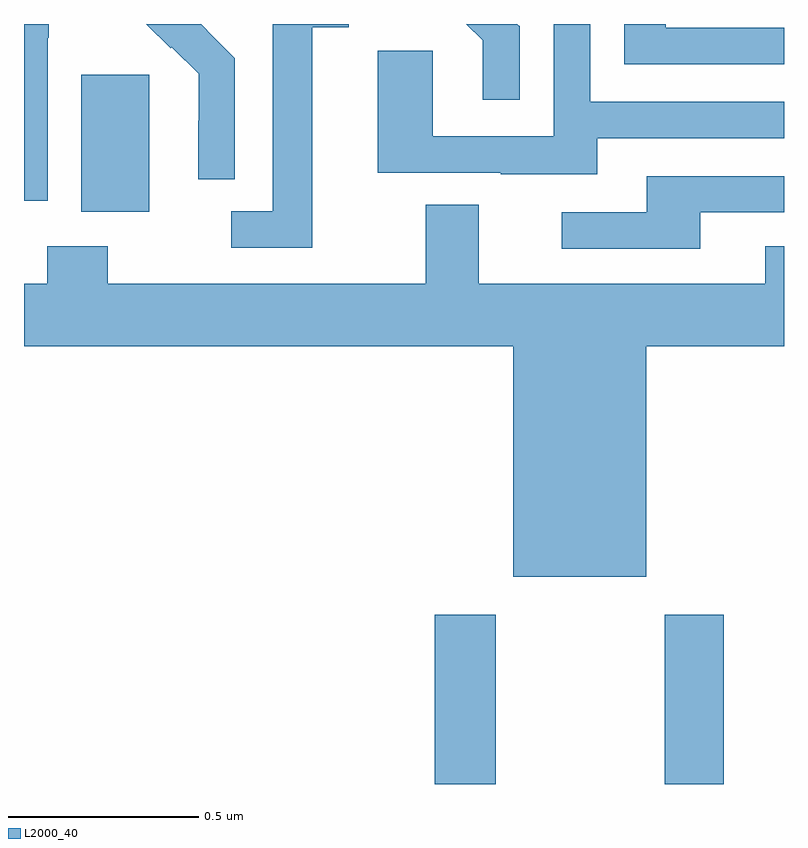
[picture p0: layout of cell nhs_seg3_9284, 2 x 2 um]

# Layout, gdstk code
import gdstk
lib = gdstk.Library(unit=1e-6, precision=1e-09)
def R(c, l, rs):  # rectangles x0, y0, x1, y1
    for r in rs: c.add(gdstk.rectangle(r[:2], r[2:], *l))
def P(c, l, *ps):  # polygons
    for p in ps: c.add(gdstk.Polygon(p, *l))
L2000_40 = (2000, 40)

nhs_seg3_9284 = lib.new_cell('nhs_seg3_9284')
R(nhs_seg3_9284, L2000_40, [(227.081,730.4,227.241,730.846), (227.686,730.4,227.841,730.846), (226.151,731.906,226.33,732.267)])
P(nhs_seg3_9284, L2000_40, [(226.062,732.364),(226.065,732.364),(226.065,732.4),(226,732.4),(226,731.935),(226.062,731.935)],
  [(226.554,732.31),(226.481,732.383),(226.482,732.384),(226.466,732.4),(226.322,732.4),(226.386,732.336),(226.389,732.339),(226.46,732.269),(226.46,732.146),(226.458,732.146),(226.458,731.992),(226.554,731.992)],
  [(228,732.39),(227.689,732.39),(227.689,732.4),(227.58,732.4),(227.58,732.294),(228,732.294)],
  [(227.509,732.099),(228,732.099),(228,732.195),(227.49,732.195),(227.49,732.4),(227.394,732.4),(227.394,732.105),(227.076,732.105),(227.076,732.329),(226.931,732.329),(226.931,732.009),(227.255,732.009),(227.255,732.005),(227.509,732.005)],
  [(226.759,732.392),(226.855,732.392),(226.855,732.4),(226.655,732.4),(226.655,731.907),(226.545,731.907),(226.545,731.811),(226.759,731.811)],
  [(227.304,732.394),(227.298,732.4),(227.164,732.4),(227.207,732.357),(227.207,732.201),(227.304,732.201)],
  [(227.779,731.904),(228,731.904),(228,732),(227.639,732),(227.639,731.904),(227.415,731.904),(227.415,731.808),(227.779,731.808)],
  [(227.638,731.552),(228,731.552),(228,731.815),(227.951,731.815),(227.951,731.716),(227.197,731.716),(227.197,731.924),(227.057,731.924),(227.057,731.716),(226.221,731.716),(226.221,731.815),(226.061,731.815),(226.061,731.716),(226,731.716),(226,731.552),(227.288,731.552),(227.288,730.946),(227.638,730.946)])

lib.write_gds('nhs_seg3_9284.gds')
